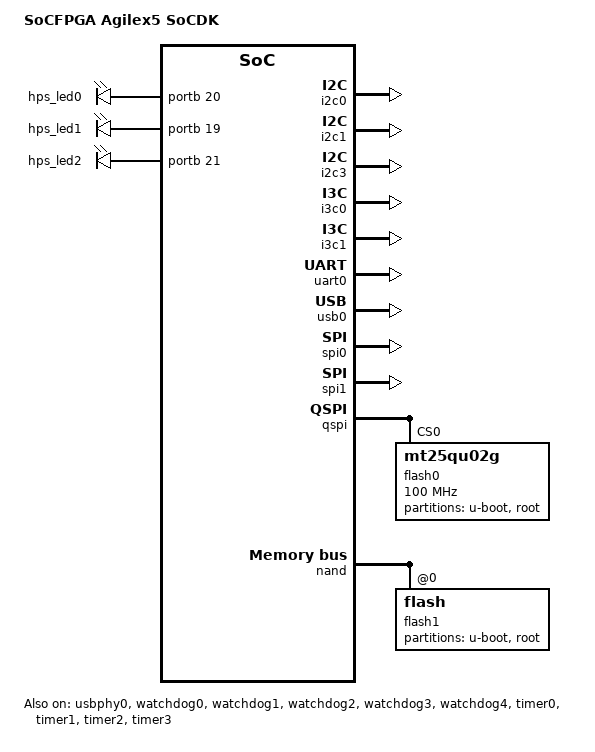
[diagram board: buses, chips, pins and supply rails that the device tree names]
// SPDX-License-Identifier:     GPL-2.0
/*
 * Copyright (C) 2024 Intel Corporation <www.intel.com>
 */
#include "socfpga_agilex5.dtsi"

/ {
	model = "SoCFPGA Agilex5 SoCDK";

	aliases {
		serial0 = &uart0;
		ethernet0 = &gmac0;
		ethernet2 = &gmac2;
	};

	leds {
		compatible = "gpio-leds";
		hps0 {
			label = "hps_led0";
			gpios = <&portb 20 GPIO_ACTIVE_HIGH>;
		};

		hps1 {
			label = "hps_led1";
			gpios = <&portb 19 GPIO_ACTIVE_HIGH>;
		};

		hps2 {
			label = "hps_led2";
			gpios = <&portb 21 GPIO_ACTIVE_HIGH>;
		};
	};

	memory {
		device_type = "memory";
		/* We expect the bootloader to fill in the reg */
		reg = <0 0 0 0>;
	};

	soc {
		clocks {
			osc1 {
				clock-frequency = <25000000>;
			};
		};
	};
};

&gpio0 {
	status = "okay";
};

&gpio1 {
	status = "okay";
};

&i2c0 {
	status = "okay";
};

&i2c1 {
	status = "okay";
};

&i2c3 {
	status = "okay";
};

&i3c0 {
	status = "okay";
};

&i3c1 {
	status = "okay";
};

&uart0 {
	status = "okay";
};

&usbphy0 {
	status = "okay";
};

&usb0 {
	status = "okay";
	disable-over-current;
};

&watchdog0 {
	status = "okay";
};

&watchdog1 {
	status = "okay";
};

&watchdog2 {
	status = "okay";
};

&watchdog3 {
	status = "okay";
};

&watchdog4 {
	status = "okay";
};

&timer0 {
	status = "okay";
};

&timer1 {
	status = "okay";
};

&timer2 {
	status = "okay";
};

&timer3 {
	status = "okay";
};

&spi0 {
	status = "okay";
};

&spi1 {
	status = "okay";
};

&qspi {
	flash0: flash@0 {
		#address-cells = <1>;
		#size-cells = <1>;
		compatible = "mt25qu02g";
		reg = <0>;
		spi-max-frequency = <100000000>;

		m25p,fast-read;
		cdns,page-size = <256>;
		cdns,block-size = <16>;
		cdns,read-delay = <1>;
		cdns,tshsl-ns = <50>;
		cdns,tsd2d-ns = <50>;
		cdns,tchsh-ns = <4>;
		cdns,tslch-ns = <4>;

		partitions {
			compatible = "fixed-partitions";
			#address-cells = <1>;
			#size-cells = <1>;

			qspi_boot: partition@0 {
				label = "u-boot";
				reg = <0x0 0x04200000>;
			};

			root: partition@4200000 {
				label = "root";
				reg = <0x04200000 0x0BE00000>;
			};
		};
	};
};

&nand {
	status = "okay";

	flash1: flash@0 {
		reg = <0>;
		#address-cells = <1>;
		#size-cells = <1>;

		partition@0 {
			label = "u-boot";
			reg = <0 0x200000>;
		};
		partition@200000 {
			label = "root";
			reg = <0x200000 0x3fe00000>;
		};
	};
};
